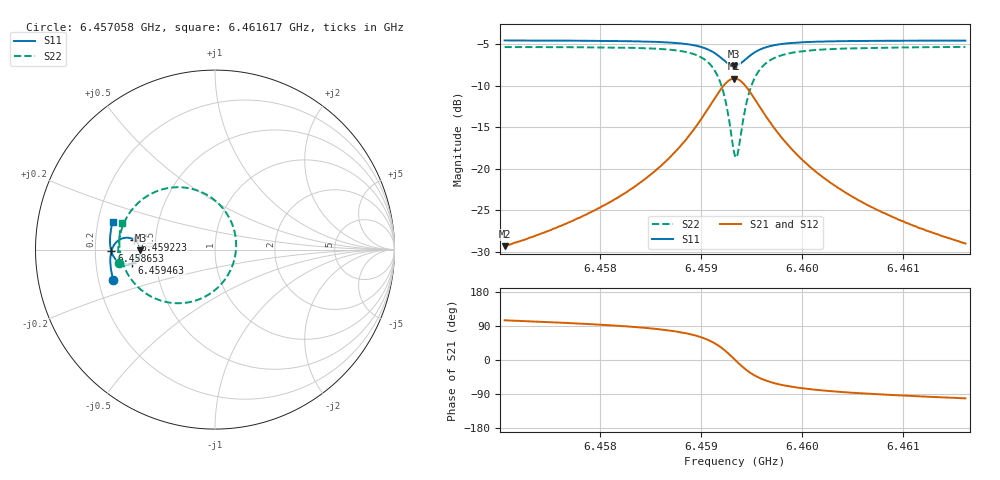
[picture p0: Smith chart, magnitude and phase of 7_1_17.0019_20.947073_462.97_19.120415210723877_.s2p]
#  HZ  S  RI  R  50.00
! Rohde & Schwarz Vector Network Analyzer
! Rohde-Schwarz,ZNB20-2Port,1311601062101988,3.16
! Created: UTC 3/20/2024, 10:52:19 PM
! freq[Hz]  re:S11  im:S11  re:S21  im:S21  re:S12  im:S12  re:S22  im:S22
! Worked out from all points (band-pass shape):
!   401 points, 6.457058 GHz to 6.461617 GHz, reference 50 ohm
!   highest |S21| = -9.14 dB at 6.459326 GHz (marker M1); lowest = -29.3 dB at 6.457058 GHz (marker M2)
!   |S21| within 3 dB of the highest: 6.459104 GHz to 6.45956 GHz (455.7 kHz wide, 0.00706 % of centre)
!   lowest |S11| = -7.6 dB at 6.459326 GHz (marker M3), VSWR 2.42, Z = 20.6 - j0.215 ohm
!   |S11| at or under -10 dB: nowhere
!   |S22| runs from -18.7 to -5.3 dB; largest |S21 - S12| = 0.014
!   S11 on the Smith chart (normalised r, x): 6.457058 GHz: 0.26, -0.13; 6.458653 GHz: 0.27, -0.01; 6.459223 GHz: 0.38, +0.05; 6.459463 GHz: 0.37, -0.07; 6.461617 GHz: 0.26, +0.12
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6.4570575e9  -0.5677 -0.1675  -0.00872 0.033  -0.00691 0.033  -0.5346 -0.0772
6.4578212e9  -0.5811 -0.1004  -0.00518 0.0511  -0.00257 0.0504  -0.5387 0.0129
6.458243e9  -0.5836 -0.0579  0.00115 0.0709  0.00436 0.0695  -0.5294 0.0806
6.4585849e9  -0.5793 -0.0166  0.0156 0.1002  0.0195 0.0974  -0.5024 0.1589
6.4586533e9  -0.5768 -0.0071  0.0211 0.1087  0.0252 0.1055  -0.4917 0.1792
6.4588471e9  -0.5636 0.0235  0.0487 0.14  0.0529 0.1351  -0.4396 0.2487
6.4589953e9  -0.5399 0.0498  0.0962 0.1707  0.0994 0.164  -0.3522 0.3127
6.4591321e9  -0.4944 0.0664  0.1866 0.1853  0.188 0.1779  -0.1864 0.3471
6.4592233e9  -0.449 0.0538  0.2781 0.1494  0.279 0.1432  -0.0167 0.2868
6.4592803e9  -0.4242 0.0266  0.3292 0.0884  0.3316 0.0824  0.08 0.1763
6.4593259e9  -0.4156 -0.00431  0.3486 0.0208  0.3524 0.0132  0.117 0.05
6.4593373e9  -0.4156 -0.0125  0.3492 0.00281  0.353 -0.00543  0.1179 0.0161
6.4593715e9  -0.4209 -0.0362  0.3404 -0.0495  0.344 -0.06  0.0996 -0.0831
6.459417e9  -0.438 -0.0615  0.3087 -0.1078  0.31 -0.1208  0.0348 -0.1921
6.4594626e9  -0.4607 -0.0767  0.2651 -0.1465  0.2631 -0.1605  -0.0537 -0.2612
6.4595538e9  -0.5042 -0.082  0.1801 -0.1739  0.1732 -0.1854  -0.222 -0.2983
6.459702e9  -0.5472 -0.0607  0.0938 -0.1579  0.0849 -0.1637  -0.3853 -0.244
6.4598616e9  -0.5684 -0.0328  0.0499 -0.1295  0.0422 -0.132  -0.4629 -0.171
6.460101e9  -0.5808 0.00259  0.0215 -0.0977  0.0156 -0.0981  -0.509 -0.0885
6.4604315e9  -0.5851 0.0421  0.00597 -0.0714  0.00191 -0.0709  -0.5292 -0.0118
6.4608647e9  -0.583 0.0858  -0.00182 -0.0522  -0.00466 -0.0512  -0.5329 0.0585
6.461617e9  -0.5708 0.1525  -0.00687 -0.0347  -0.00844 -0.0338  -0.5208 0.1474
